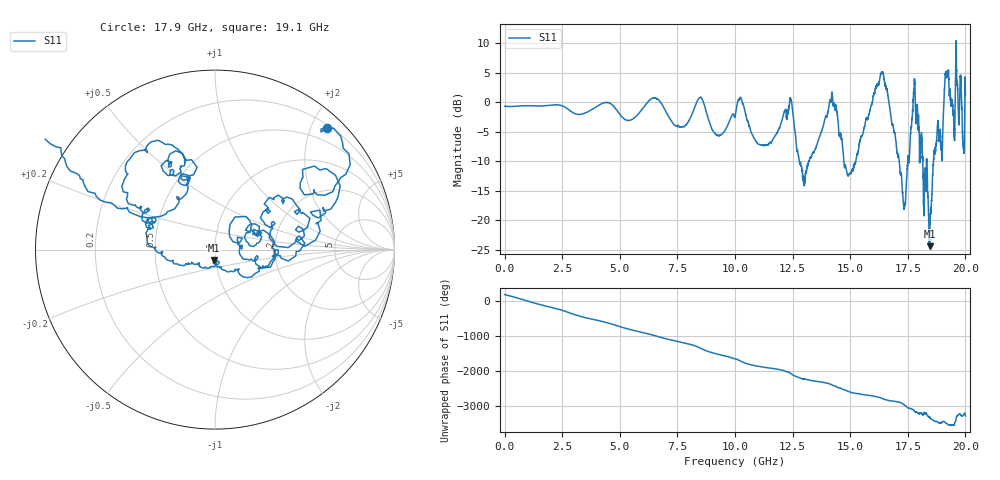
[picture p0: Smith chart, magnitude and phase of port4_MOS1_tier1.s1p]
! Created with skrf 1.8.0 (http://scikit-rf.org).
# GHz S RI R 50.0
!freq ReS11 ImS11
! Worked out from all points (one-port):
!   10001 points, 1 MHz to 20 GHz, reference 50 ohm
!   lowest |S11| = -24.4 dB at 18.45 GHz (marker M1), VSWR 1.13, Z = 49.1 - j5.94 ohm
!   |S11| at or under -10 dB: 12.8 GHz to 13.2 GHz (404.9 MHz wide, 3.11 % of centre); 14.73 GHz to 15.24 GHz (515.7 MHz wide, 3.44 % of centre); 17.13 GHz to 17.5 GHz (372.4 MHz wide, 2.15 % of centre) (the widest 3 of 10)
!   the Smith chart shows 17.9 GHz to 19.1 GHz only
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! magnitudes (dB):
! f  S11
! 1 MHz  -0.6
! 2.501 GHz  -0.6
! 5.001 GHz  -2.0
! 6.531 GHz  0.8
! 7.501 GHz  -4.1
! 8.479 GHz  0.8
! 9.235 GHz  -5.6
! 10 GHz  -2.5
! 10.25 GHz  0.7
! 11.24 GHz  -7.3
! 12.5 GHz  -1.4
! 13.01 GHz  -14.1
! 14.21 GHz  1.7
! 14.81 GHz  -11.0
! 15 GHz  -12.0
! 16.38 GHz  5.1
! 17.32 GHz  -17.4
! 17.5 GHz  -10.3
! 17.72 GHz  -1.5
! 17.83 GHz  0.4
! 18.45 GHz  -24.4
! 18.73 GHz  -7.3
! 18.97 GHz  -8.4
! 19.18 GHz  4.6
! 19.45 GHz  -0.7
! 19.68 GHz  0.7
! 19.88 GHz  -6.2
! 20 GHz  1.2
